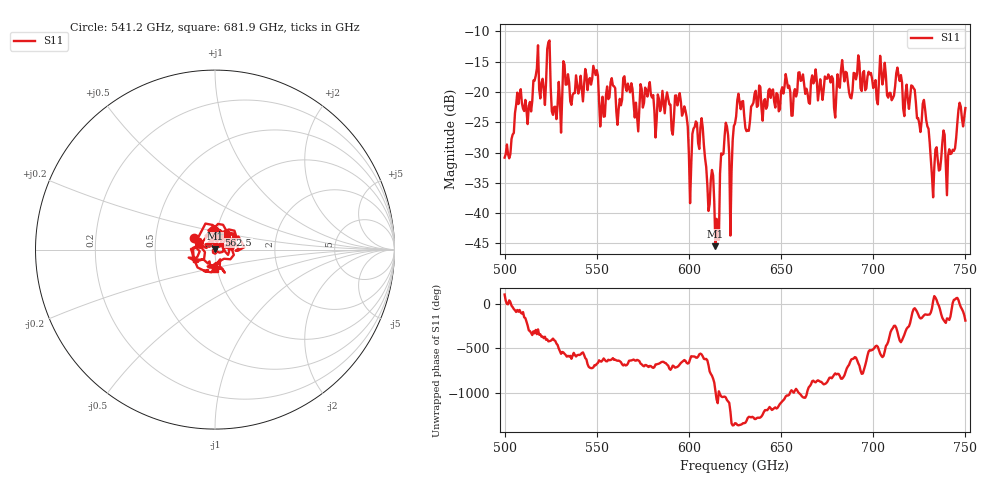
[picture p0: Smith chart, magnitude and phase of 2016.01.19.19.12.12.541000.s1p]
!Created with skrf (http://scikit-rf.org).
# GHz S RI R 50.0
!freq ReS11 ImS11
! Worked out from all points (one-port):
!   401 points, 500 GHz to 750 GHz, reference 50 ohm
!   lowest |S11| = -45.4 dB at 614.4 GHz (marker M1), VSWR 1.01, Z = 49.9 + j0.524 ohm
!   |S11| at or under -10 dB: start of sweep to end of sweep
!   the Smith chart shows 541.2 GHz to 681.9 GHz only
!   S11 on the Smith chart (normalised r, x): 541.2 GHz: 0.78, +0.10; 562.5 GHz: 1.03, +0.18; 681.9 GHz: 0.97, -0.21
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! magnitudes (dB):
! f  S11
! 500 GHz  -30.8
! 516.9 GHz  -17.4
! 520.6 GHz  -17.8
! 523.8 GHz  -11.8
! 526.9 GHz  -22.5
! 531.2 GHz  -20.7
! 541.2 GHz  -17.3
! 549.4 GHz  -17.2
! 553.1 GHz  -20.8
! 558.8 GHz  -19.0
! 562.5 GHz  -21.2
! 565.6 GHz  -19.2
! 593.8 GHz  -22.2
! 600.6 GHz  -38.4
! 607.5 GHz  -25.9
! 614.4 GHz  -45.4
! 615.6 GHz  -44.4
! 618.8 GHz  -30.2
! 623.1 GHz  -33.1
! 625 GHz  -25.2
! 656.2 GHz  -23.9
! 681.9 GHz  -19.3
! 687.5 GHz  -20.9
! 705 GHz  -18.8
! 718.8 GHz  -21.2
! 728.1 GHz  -22.8
! 732.5 GHz  -37.4
! 750 GHz  -22.7
